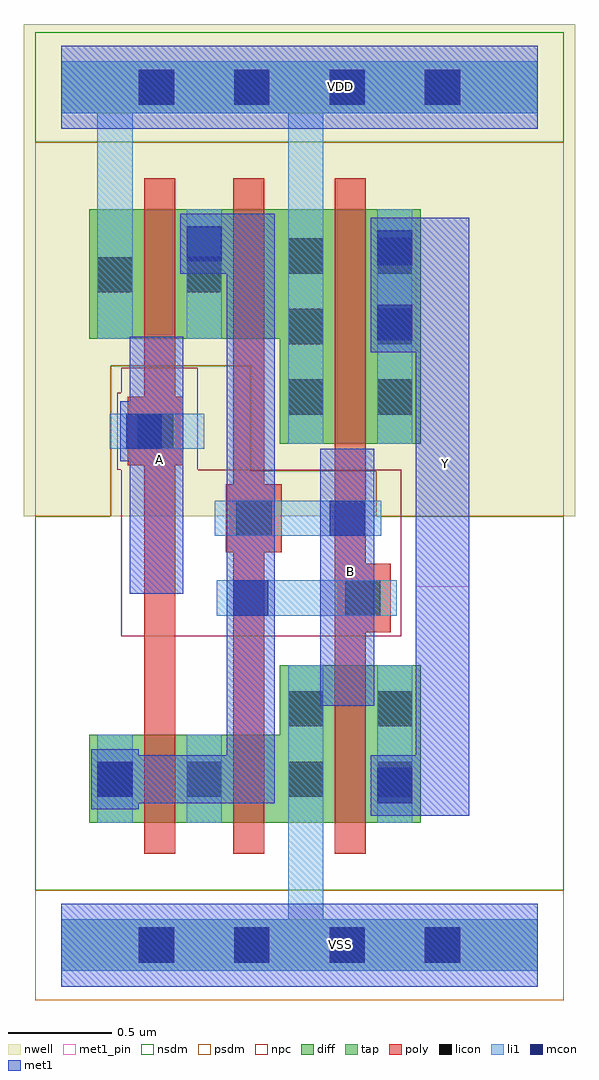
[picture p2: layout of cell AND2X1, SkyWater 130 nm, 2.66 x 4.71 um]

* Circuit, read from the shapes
.subckt AND2X1 A B VDD VSS Y
XM1 n1 A n2 VSS sky130_fd_pr__nfet_01v8 w=0.425 l=0.15
XM2 VSS B n1 VSS sky130_fd_pr__nfet_01v8 w=0.425 l=0.15
XM3 Y n2 VSS VSS sky130_fd_pr__nfet_01v8 w=0.76 l=0.15
XM4 n2 A VDD VDD sky130_fd_pr__pfet_01v8 w=0.625 l=0.15
XM5 VDD B n2 VDD sky130_fd_pr__pfet_01v8 w=0.625 l=0.15
XM6 Y n2 VDD VDD sky130_fd_pr__pfet_01v8 w=1.13 l=0.15
.ends

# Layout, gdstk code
from math import pi, radians
import gdstk
lib = gdstk.Library(unit=1e-6, precision=1e-09)
def R(c, l, rs):  # rectangles x0, y0, x1, y1
    for r in rs: c.add(gdstk.rectangle(r[:2], r[2:], *l))
def A(c, l, x, y, w, h, nx, ny, dx, dy):  # array of equal rectangles
    R(c, l, [(x+i*dx, y+j*dy, x+i*dx+w, y+j*dy+h) for i in range(nx) for j in range(ny)])
def P(c, l, *ps):  # polygons
    for p in ps: c.add(gdstk.Polygon(p, *l))
nwell = (64, 20)
diff = (65, 20)
tap = (65, 44)
poly = (66, 20)
licon = (66, 44)
li1 = (67, 20)
mcon = (67, 44)
met1_pin = (68, 16)
met1 = (68, 20)
nsdm = (93, 44)
psdm = (94, 20)
npc = (95, 20)

l1m1_c__12 = lib.new_cell('L1M1_C$$12')
R(l1m1_c__12, li1, [(-0.085,-0.345,0.085,0.345)])
R(l1m1_c__12, mcon, [(-0.085,-0.265,0.085,-0.095), (-0.085,0.095,0.085,0.265)])
R(l1m1_c__12, met1, [(-0.115,-0.325,0.115,0.325)])

pyl1con_c__13 = lib.new_cell('PYL1CON_C$$13')
R(pyl1con_c__13, poly, [(-0.135,-0.165,0.135,0.165)])
R(pyl1con_c__13, licon, [(-0.085,-0.085,0.085,0.085)])
R(pyl1con_c__13, npc, [(-0.185,-0.185,0.185,0.185)])

lilicon_c__14 = lib.new_cell('LILICON_C$$14')
R(lilicon_c__14, licon, [(-0.085,-0.085,0.085,0.085), (-0.085,-0.085,0.085,0.085)])
R(lilicon_c__14, li1, [(-0.085,-0.165,0.085,0.165)])

l1m1_c__15 = lib.new_cell('L1M1_C$$15')
R(l1m1_c__15, li1, [(-0.165,-0.085,0.165,0.085)])
R(l1m1_c__15, mcon, [(-0.085,-0.085,0.085,0.085)])
R(l1m1_c__15, met1, [(-0.115,-0.145,0.115,0.145)])

l1m1_c__16 = lib.new_cell('L1M1_C$$16')
R(l1m1_c__16, li1, [(-0.085,-0.165,0.085,0.165)])
R(l1m1_c__16, mcon, [(-0.085,-0.085,0.085,0.085)])
R(l1m1_c__16, met1, [(-0.115,-0.145,0.115,0.145)])

licondiff_c__17 = lib.new_cell('LICONDIFF_C$$17')
R(licondiff_c__17, diff, [(-0.125,-0.145,0.125,0.145)])
R(licondiff_c__17, licon, [(-0.085,-0.085,0.085,0.085), (-0.085,-0.085,0.085,0.085)])

and2x1 = lib.new_cell('AND2X1')
R(and2x1, nwell, [(-0.18,2.07,2.48,4.445)])
P(and2x1, diff, [(1.735,3.55),(0.135,3.55),(0.135,2.925),(1.055,2.925),(1.055,2.42),(1.735,2.42)],
  [(1.735,1.35),(1.055,1.35),(1.055,1.015),(0.135,1.015),(0.135,0.59),(1.735,0.59)])
R(and2x1, poly, [(0.4,0.44,0.55,3.7), (0.83,0.44,0.98,3.7), (1.32,0.44,1.47,3.7)])
A(and2x1, licon, 0.375, -0.085, 0.17, 0.17, 4, 2, 0.46, 4.14)
A(and2x1, licon, 1.095, 2.56, 0.17, 0.17, 1, 3, 0, 0.34)
A(and2x1, licon, 1.525, 2.56, 0.17, 0.17, 1, 3, 0, 0.34)
R(and2x1, licon, [(0.175,0.715,0.345,0.885), (1.095,0.715,1.265,0.885), (1.525,0.715,1.695,0.885), (1.095,1.055,1.265,1.225), (1.525,1.055,1.695,1.225), (0.175,3.15,0.345,3.32), (0.605,3.15,0.775,3.32)])
R(and2x1, li1, [(0.175,0.59,0.345,1.015), (1.525,0.59,1.695,1.35), (1.525,2.42,1.695,3.55), (0.605,2.925,0.775,3.55)])
P(and2x1, li1, [(2.3,0.125),(1.265,0.125),(1.265,1.35),(1.095,1.35),(1.095,0.125),(0,0.125),(0,-0.125),(2.3,-0.125)],
  [(2.3,4.265),(0,4.265),(0,4.015),(0.175,4.015),(0.175,2.925),(0.345,2.925),(0.345,4.015),(1.095,4.015),(1.095,2.42),(1.265,2.42),(1.265,4.015),(2.3,4.015)])
A(and2x1, mcon, 0.375, -0.085, 0.17, 0.17, 4, 2, 0.46, 4.14)
R(and2x1, met1_pin, [(1.25,1.155,1.51,2.395), (0.33,1.695,0.59,2.935), (1.71,1.73,1.97,3.51)])
P(and2x1, met1, [(1.03,3.53),(0.575,3.53),(0.575,3.3),(0.69,3.3),(0.69,3.24),(0.8,3.24),(0.8,0.915),(0.26,0.915),(0.26,0.685),(1.03,0.685)])
R(and2x1, nsdm, [(-0.125,3.875,2.425,4.405)])
P(and2x1, nsdm, [(2.425,2.07),(1.52,2.07),(1.52,2.29),(0.915,2.29),(0.915,2.795),(0.24,2.795),(0.24,2.07),(-0.125,2.07),(-0.125,0.265),(2.425,0.265)])
R(and2x1, psdm, [(-0.125,-0.265,2.425,0.265)])
P(and2x1, psdm, [(2.425,3.875),(-0.125,3.875),(-0.125,2.07),(0.24,2.07),(0.24,2.795),(0.915,2.795),(0.915,2.29),(1.52,2.29),(1.52,2.07),(2.425,2.07)])
P(and2x1, npc, [(1.64,2.295),(0.66,2.295),(0.66,2.785),(0.29,2.785),(0.29,1.49),(1.64,1.49)])
and2x1.add(gdstk.FlexPath([(0.235,2.48),(0.69,2.48)], 0.17, ends="flush", simple_path=True, layer=67, datatype=20))  # li1
and2x1.add(gdstk.FlexPath([(0.915,1.675),(1.455,1.675)], 0.17, ends="flush", simple_path=True, layer=67, datatype=20))  # li1
and2x1.add(gdstk.FlexPath([(0.74,2.06),(1.38,2.06)], 0.17, ends="flush", simple_path=True, layer=67, datatype=20))  # li1
and2x1.add(gdstk.FlexPath([(0.69,0.59),(0.69,1.015)], 0.17, ends="flush", simple_path=True, layer=67, datatype=20))  # li1
and2x1.add(gdstk.FlexPath([(0,4.14),(2.3,4.14)], 0.4, ends="flush", simple_path=True, layer=68, datatype=16))  # met1_pin
and2x1.add(gdstk.FlexPath([(0,0),(2.3,0)], 0.4, ends="flush", simple_path=True, layer=68, datatype=16))  # met1_pin
and2x1.add(gdstk.FlexPath([(0,0),(2.3,0)], 0.25, ends="flush", simple_path=True, layer=65, datatype=44))  # tap
and2x1.add(gdstk.FlexPath([(0,4.14),(2.3,4.14)], 0.25, ends="flush", simple_path=True, layer=65, datatype=44))  # tap
and2x1.add(gdstk.FlexPath([(0,0),(2.3,0)], 0.4, ends="flush", simple_path=True, layer=68, datatype=20))  # met1
and2x1.add(gdstk.FlexPath([(0,4.14),(2.3,4.14)], 0.4, ends="flush", simple_path=True, layer=68, datatype=20))  # met1
and2x1.add(gdstk.FlexPath([(1.38,2.395),(1.38,1.155)], 0.26, ends="flush", simple_path=True, layer=68, datatype=20))  # met1
and2x1.add(gdstk.FlexPath([(1.495,3.38),(1.84,3.38),(1.84,0.755),(1.695,0.755)], 0.26, ends="flush", simple_path=True, layer=68, datatype=20))  # met1
and2x1.add(gdstk.FlexPath([(0.46,2.935),(0.46,1.695)], 0.26, ends="flush", simple_path=True, layer=68, datatype=20))  # met1
and2x1.add(gdstk.Reference(l1m1_c__12, (1.61,3.185)))
and2x1.add(gdstk.Reference(pyl1con_c__13, (1.455,1.675)))
and2x1.add(gdstk.Reference(pyl1con_c__13, (0.93,2.06), rotation=pi, x_reflection=True))
and2x1.add(gdstk.Reference(pyl1con_c__13, (0.455,2.48), rotation=pi, x_reflection=True))
and2x1.add(gdstk.Reference(lilicon_c__14, (1.455,1.675), rotation=pi/2))
and2x1.add(gdstk.Reference(l1m1_c__15, (0.915,1.675), rotation=pi, x_reflection=True))
and2x1.add(gdstk.Reference(l1m1_c__15, (0.4,2.48)))
and2x1.add(gdstk.Reference(l1m1_c__15, (1.38,2.06)))
and2x1.add(gdstk.Reference(l1m1_c__16, (1.61,0.77)))
and2x1.add(gdstk.Reference(l1m1_c__16, (0.26,0.8)))
and2x1.add(gdstk.Reference(l1m1_c__16, (0.69,3.385)))
and2x1.add(gdstk.Reference(licondiff_c__17, (0.69,0.8)))
and2x1.add(gdstk.Label('VSS', (1.35,0.005), layer=68, texttype=5))
and2x1.add(gdstk.Label('B', (1.395,1.805), layer=68, texttype=5))
and2x1.add(gdstk.Label('VDD', (1.35,4.145), layer=68, texttype=5))
and2x1.add(gdstk.Label('Y', (1.855,2.325), layer=68, texttype=5))
and2x1.add(gdstk.Label('A', (0.475,2.345), layer=68, texttype=5))

lib.write_gds('AND2X1.gds')
